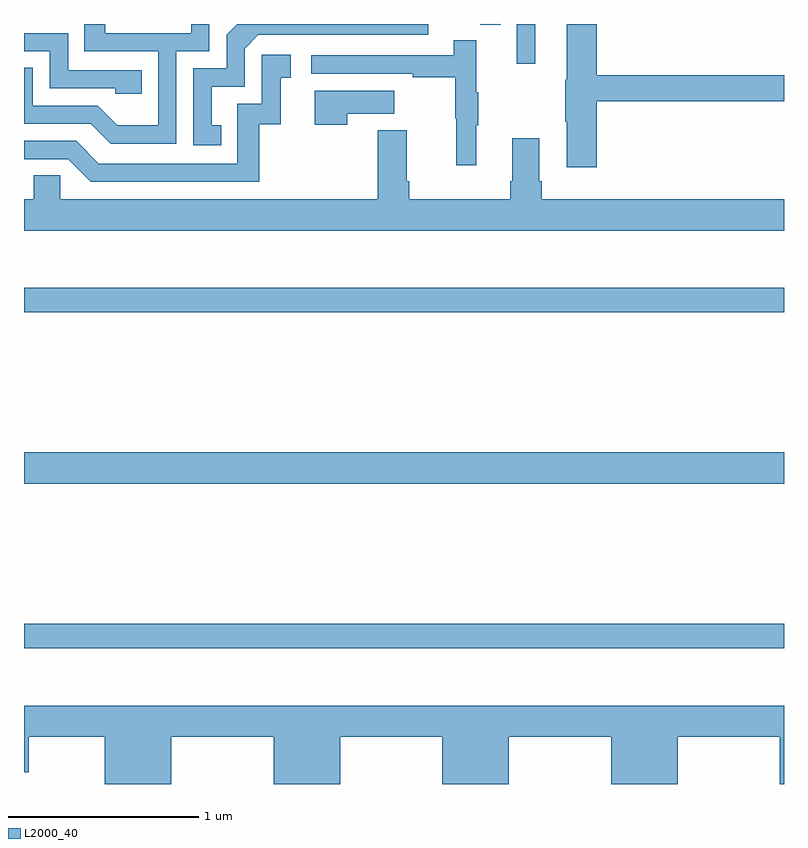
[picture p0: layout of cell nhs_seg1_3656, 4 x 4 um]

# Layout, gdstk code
import gdstk
lib = gdstk.Library(unit=1e-6, precision=1e-09)
def R(c, l, rs):  # rectangles x0, y0, x1, y1
    for r in rs: c.add(gdstk.rectangle(r[:2], r[2:], *l))
def P(c, l, *ps):  # polygons
    for p in ps: c.add(gdstk.Polygon(p, *l))
L2000_40 = (2000, 40)

nhs_seg1_3656 = lib.new_cell('nhs_seg1_3656')
R(nhs_seg1_3656, L2000_40, [(311,502.914,315,503.042), (311,503.78,315,503.944), (311,504.682,315,504.811), (313.593,505.989,313.69,506.199), (313.4,506.194,313.508,506.199)])
P(nhs_seg1_3656, L2000_40, [(314.015,505.792),(315,505.792),(315,505.928),(314.015,505.928),(314.015,506.199),(313.856,506.199),(313.856,505.905),(313.849,505.905),(313.849,505.684),(313.856,505.684),(313.856,505.446),(314.015,505.446)],
  [(311.802,506.055),(311.976,506.055),(311.976,506.199),(311.879,506.199),(311.879,506.151),(311.428,506.151),(311.428,506.199),(311.317,506.199),(311.317,506.055),(311.706,506.055),(311.706,505.666),(311.492,505.666),(311.388,505.77),(311.046,505.77),(311.046,505.969),(311,505.969),(311,505.674),(311.351,505.674),(311.456,505.569),(311.802,505.569)],
  [(312.038,505.665),(311.989,505.665),(311.989,505.869),(312.162,505.869),(312.162,506.07),(312.234,506.142),(313.128,506.142),(313.128,506.199),(312.123,506.199),(312.066,506.142),(312.066,505.965),(311.892,505.965),(311.892,505.56),(312.038,505.56)],
  [(311.621,505.956),(311.232,505.956),(311.232,506.151),(311,506.151),(311,506.055),(311.136,506.055),(311.136,505.86),(311.481,505.86),(311.481,505.833),(311.621,505.833)],
  [(313.379,505.667),(313.39,505.667),(313.39,505.841),(313.379,505.841),(313.379,506.113),(313.261,506.113),(313.261,506.034),(312.513,506.034),(312.513,505.938),(313.045,505.938),(313.045,505.918),(313.269,505.918),(313.269,505.704),(313.276,505.704),(313.276,505.455),(313.379,505.455)],
  [(312.239,505.671),(312.35,505.671),(312.35,505.917),(312.403,505.917),(312.403,506.038),(312.252,506.038),(312.252,505.779),(312.123,505.779),(312.123,505.464),(311.394,505.464),(311.274,505.584),(311,505.584),(311,505.488),(311.232,505.488),(311.352,505.368),(312.239,505.368)],
  [(312.701,505.727),(312.949,505.727),(312.949,505.849),(312.53,505.849),(312.53,505.668),(312.701,505.668)],
  [(315,505.276),(313.724,505.276),(313.724,505.372),(313.711,505.372),(313.711,505.597),(313.571,505.597),(313.571,505.372),(313.559,505.372),(313.559,505.276),(313.028,505.276),(313.028,505.372),(313.015,505.372),(313.015,505.639),(312.863,505.639),(312.863,505.276),(311.19,505.276),(311.19,505.403),(311.051,505.403),(311.051,505.276),(311,505.276),(311,505.112),(315,505.112)],
  [(311.776,502.448),(312.314,502.448),(312.314,502.199),(312.664,502.199),(312.664,502.448),(313.202,502.448),(313.202,502.199),(313.552,502.199),(313.552,502.448),(314.09,502.448),(314.09,502.199),(314.44,502.199),(314.44,502.448),(314.978,502.448),(314.978,502.199),(315,502.199),(315,502.612),(311,502.612),(311,502.26),(311.026,502.26),(311.026,502.448),(311.426,502.448),(311.426,502.199),(311.776,502.199)])

lib.write_gds('nhs_seg1_3656.gds')
